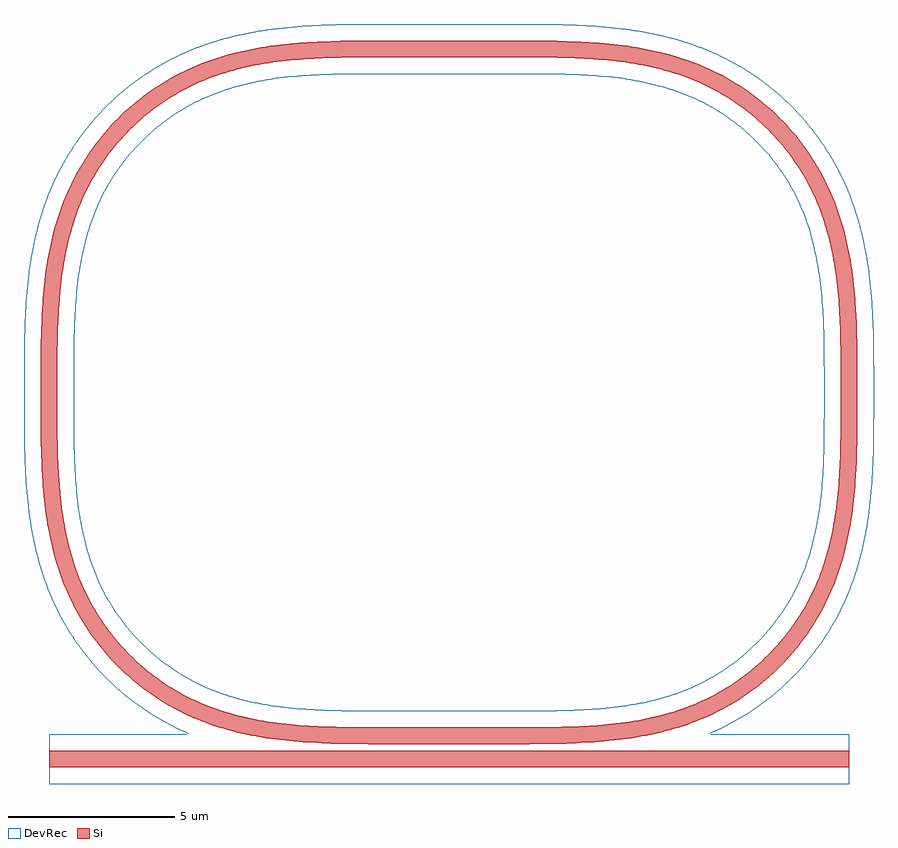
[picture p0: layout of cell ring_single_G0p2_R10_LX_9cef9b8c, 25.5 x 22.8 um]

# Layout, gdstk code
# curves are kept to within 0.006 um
from math import pi, radians
import gdstk
lib = gdstk.Library(unit=1e-6, precision=1e-09)
def R(c, l, rs):  # rectangles x0, y0, x1, y1
    for r in rs: c.add(gdstk.rectangle(r[:2], r[2:], *l))
def P(c, l, *ps):  # polygons
    for p in ps: c.add(gdstk.Polygon(p, *l))
Si = (1, 0)
DevRec = (68, 0)

bend_euler_r10_a90_p0p5_ = lib.new_cell('bend_euler_R10_A90_P0p5_17151b03')
P(bend_euler_r10_a90_p0p5_, Si, [(0,-0.25),(0,0.25),(0.83,0.252),(1.655,0.269),(2.338,0.305),(2.881,0.353),(3.42,0.424),(3.952,0.52),(4.477,0.647),(4.99,0.806),(5.365,0.949),(5.731,1.113),(6.087,1.299),(6.431,1.505),(6.762,1.731),(7.079,1.976),(7.283,2.15),(7.575,2.425),(7.85,2.717),(8.024,2.921),(8.269,3.238),(8.495,3.569),(8.701,3.913),(8.887,4.269),(9.051,4.635),(9.194,5.01),(9.353,5.523),(9.48,6.048),(9.576,6.58),(9.647,7.119),(9.695,7.662),(9.731,8.345),(9.748,9.17),(9.75,10),(10.25,10),(10.248,9.166),(10.235,8.468),(10.203,7.767),(10.158,7.205),(10.091,6.644),(10.023,6.224),(9.907,5.668),(9.797,5.254),(9.618,4.711),(9.457,4.312),(9.273,3.922),(9.066,3.545),(8.756,3.061),(8.5,2.715),(8.224,2.385),(7.928,2.072),(7.615,1.776),(7.285,1.5),(6.939,1.244),(6.455,0.934),(6.078,0.727),(5.688,0.543),(5.289,0.382),(4.746,0.203),(4.332,0.093),(3.776,-0.023),(3.356,-0.091),(2.795,-0.158),(2.233,-0.203),(1.532,-0.235),(0.834,-0.248)])
P(bend_euler_r10_a90_p0p5_, DevRec, [(0,-0.75),(0,0.75),(0.825,0.752),(1.637,0.769),(2.17,0.795),(2.697,0.837),(3.215,0.899),(3.724,0.984),(4.099,1.066),(4.466,1.163),(4.942,1.32),(5.288,1.459),(5.624,1.618),(5.95,1.797),(6.265,1.994),(6.666,2.285),(6.951,2.524),(7.221,2.779),(7.476,3.049),(7.715,3.334),(8.006,3.735),(8.203,4.05),(8.382,4.376),(8.541,4.712),(8.68,5.058),(8.837,5.534),(8.934,5.901),(9.016,6.276),(9.101,6.785),(9.163,7.303),(9.205,7.83),(9.231,8.363),(9.248,9.175),(9.25,10),(10.75,10),(10.748,9.161),(10.735,8.453),(10.711,7.88),(10.656,7.156),(10.586,6.574),(10.488,5.989),(10.393,5.551),(10.277,5.114),(10.087,4.537),(9.915,4.111),(9.718,3.695),(9.497,3.292),(9.337,3.03),(9.167,2.775),(8.893,2.406),(8.597,2.053),(8.282,1.718),(7.947,1.403),(7.594,1.107),(7.225,0.833),(6.97,0.663),(6.708,0.503),(6.305,0.282),(5.889,0.085),(5.463,-0.087),(4.886,-0.277),(4.449,-0.393),(4.011,-0.488),(3.426,-0.586),(2.844,-0.656),(2.12,-0.711),(1.547,-0.735),(0.839,-0.748)])

straight_l4_csstrip_wnon = lib.new_cell('straight_L4_CSstrip_WNone_N2')
R(straight_l4_csstrip_wnon, Si, [(0,-0.25,4,0.25)])
R(straight_l4_csstrip_wnon, DevRec, [(0,-0.75,4,0.75)])

straight_l0p6_csstrip_wn = lib.new_cell('straight_L0p6_CSstrip_WNone_N2')
R(straight_l0p6_csstrip_wn, Si, [(0,-0.25,0.6,0.25)])
R(straight_l0p6_csstrip_wn, DevRec, [(0,-0.75,0.6,0.75)])

coupler_ring_lx4_g0p2_r_ = lib.new_cell('coupler_ring_LX4_G0p2_R_bc79a2ed')
R(coupler_ring_lx4_g0p2_r_, Si, [(-14,-0.25,10,0.25)])
P(coupler_ring_lx4_g0p2_r_, Si, [(-4.416,0.45),(-5.253,0.458),(-5.812,0.475),(-6.373,0.506),(-6.935,0.556),(-7.356,0.609),(-7.915,0.703),(-8.332,0.793),(-8.883,0.944),(-9.423,1.133),(-9.819,1.302),(-10.205,1.494),(-10.579,1.708),(-11.056,2.027),(-11.397,2.29),(-11.721,2.573),(-12.029,2.874),(-12.318,3.193),(-12.588,3.529),(-12.916,4),(-13.137,4.369),(-13.337,4.751),(-13.567,5.277),(-13.712,5.681),(-13.836,6.091),(-13.939,6.506),(-14.048,7.064),(-14.128,7.625),(-14.171,8.046),(-14.219,8.747),(-14.235,9.168),(-14.248,9.866),(-14.25,10.7),(-13.75,10.7),(-13.748,9.87),(-13.731,9.045),(-13.695,8.362),(-13.647,7.819),(-13.576,7.28),(-13.48,6.748),(-13.353,6.223),(-13.194,5.71),(-13.051,5.335),(-12.887,4.969),(-12.701,4.613),(-12.495,4.269),(-12.269,3.938),(-12.024,3.621),(-11.85,3.417),(-11.575,3.125),(-11.182,2.762),(-10.869,2.511),(-10.543,2.278),(-10.203,2.065),(-9.851,1.873),(-9.488,1.701),(-9.116,1.551),(-8.735,1.422),(-8.346,1.312),(-7.952,1.22),(-7.42,1.124),(-6.881,1.053),(-6.338,1.005),(-5.655,0.969),(-4.415,0.95),(0.415,0.95),(1.243,0.958),(2.202,0.996),(3.016,1.069),(3.553,1.146),(4.084,1.249),(4.606,1.383),(4.99,1.506),(5.365,1.649),(5.731,1.813),(6.203,2.065),(6.543,2.278),(6.869,2.511),(7.283,2.85),(7.575,3.125),(7.938,3.518),(8.269,3.938),(8.495,4.269),(8.765,4.731),(8.999,5.212),(9.194,5.71),(9.353,6.223),(9.48,6.748),(9.596,7.415),(9.661,7.954),(9.719,8.772),(9.742,9.457),(9.75,10.7),(10.25,10.7),(10.248,9.866),(10.225,8.888),(10.194,8.327),(10.128,7.625),(10.048,7.064),(9.939,6.506),(9.797,5.954),(9.618,5.411),(9.398,4.881),(9.273,4.622),(9.137,4.369),(8.992,4.121),(8.837,3.88),(8.5,3.415),(8.224,3.085),(7.826,2.671),(7.397,2.29),(6.939,1.944),(6.579,1.708),(6.078,1.427),(5.688,1.243),(5.289,1.082),(4.883,0.944),(4.332,0.793),(3.776,0.677),(3.216,0.59),(2.795,0.542),(2.373,0.506),(1.953,0.481),(1.253,0.458),(0.416,0.45)])
P(coupler_ring_lx4_g0p2_r_, DevRec, [(-14,-0.75),(-14,0.75),(-9.807,0.75),(-10.029,0.848),(-10.441,1.053),(-10.97,1.363),(-11.225,1.533),(-11.594,1.807),(-12.061,2.206),(-12.282,2.418),(-12.494,2.639),(-12.797,2.986),(-12.986,3.227),(-13.167,3.475),(-13.419,3.86),(-13.574,4.125),(-13.718,4.395),(-13.852,4.671),(-13.975,4.952),(-14.087,5.237),(-14.233,5.669),(-14.393,6.251),(-14.488,6.689),(-14.541,6.981),(-14.641,7.711),(-14.711,8.58),(-14.742,9.437),(-14.75,10.7),(-13.25,10.7),(-13.248,9.875),(-13.231,9.063),(-13.205,8.53),(-13.163,8.003),(-13.101,7.485),(-13.016,6.976),(-12.904,6.478),(-12.8,6.113),(-12.68,5.758),(-12.49,5.299),(-12.265,4.858),(-12.074,4.539),(-11.79,4.132),(-11.557,3.843),(-11.308,3.567),(-10.951,3.224),(-10.666,2.985),(-10.367,2.764),(-10.056,2.56),(-9.734,2.376),(-9.401,2.21),(-9.059,2.065),(-8.706,1.938),(-8.344,1.829),(-7.975,1.737),(-7.598,1.661),(-7.215,1.599),(-6.697,1.537),(-6.17,1.495),(-5.771,1.474),(-5.233,1.458),(-4.414,1.45),(0.825,1.452),(1.904,1.48),(2.697,1.537),(3.215,1.599),(3.724,1.684),(4.099,1.766),(4.466,1.863),(4.942,2.02),(5.288,2.159),(5.624,2.318),(6.056,2.56),(6.265,2.694),(6.568,2.91),(6.951,3.224),(7.308,3.567),(7.637,3.938),(7.936,4.333),(8.203,4.75),(8.437,5.187),(8.635,5.641),(8.8,6.113),(8.934,6.601),(9.039,7.102),(9.135,7.743),(9.186,8.266),(9.226,8.929),(9.248,9.875),(9.25,10.7),(10.75,10.7),(10.742,9.437),(10.711,8.58),(10.641,7.711),(10.541,6.981),(10.488,6.689),(10.393,6.251),(10.233,5.669),(10.087,5.237),(9.975,4.952),(9.852,4.671),(9.718,4.395),(9.574,4.125),(9.419,3.86),(9.167,3.475),(8.986,3.227),(8.797,2.986),(8.494,2.639),(8.282,2.418),(8.061,2.206),(7.594,1.807),(7.225,1.533),(6.97,1.363),(6.441,1.053),(6.029,0.848),(5.807,0.75),(10,0.75),(10,-0.75)])

ring_single_g0p2_r10_lx_ = lib.new_cell('ring_single_G0p2_R10_LX_9cef9b8c')
ring_single_g0p2_r10_lx_.add(gdstk.Reference(bend_euler_r10_a90_p0p5_, (10,11.3), rotation=pi/2))
ring_single_g0p2_r10_lx_.add(gdstk.Reference(bend_euler_r10_a90_p0p5_, (-4,21.3), rotation=pi))
ring_single_g0p2_r10_lx_.add(gdstk.Reference(straight_l4_csstrip_wnon, (0,21.3), rotation=pi))
ring_single_g0p2_r10_lx_.add(gdstk.Reference(straight_l0p6_csstrip_wn, (10,11.3), rotation=3*pi/2))
ring_single_g0p2_r10_lx_.add(gdstk.Reference(straight_l0p6_csstrip_wn, (-14,10.7), rotation=pi/2))
ring_single_g0p2_r10_lx_.add(gdstk.Reference(coupler_ring_lx4_g0p2_r_, (0,0)))

lib.write_gds('ring_single_G0p2_R10_LX_9cef9b8c.gds')
